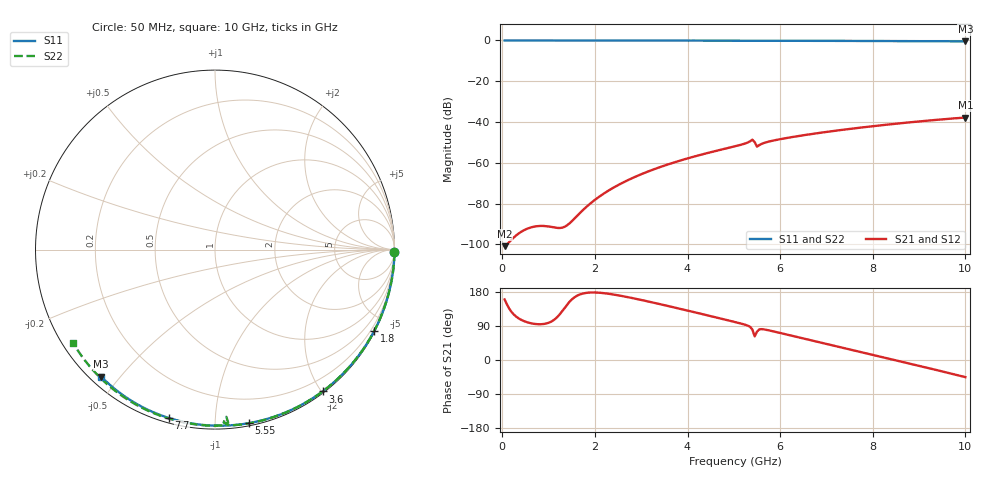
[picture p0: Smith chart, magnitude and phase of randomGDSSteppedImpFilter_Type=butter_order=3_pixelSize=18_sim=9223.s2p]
! freq	dB(S11)	phase(S11)	dB(S12)	phase(S12)
!  dB(S21)	phase(S21)	dB(S22)	phase(S22)
!S-par simulation data
#  GHz  S  DB  R 50
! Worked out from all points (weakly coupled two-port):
!   200 points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, 50 MHz to 10 GHz, reference 50 ohm
!   highest |S21| = -37.80 dB at 10 GHz (marker M1); lowest = -100.9 dB at 50 MHz (marker M2)
!   lowest |S11| = -0.4 dB at 10 GHz (marker M3), VSWR 39.03, Z = 1.54 - j22.3 ohm
!   |S11| at or under -10 dB: nowhere
!   |S22| runs from -0.6 to 0.0 dB; largest |S21 - S12| = 0
!   S11 on the Smith chart (normalised r, x): 50 MHz: open; 1.8 GHz: 0.04, -4.16; 3.6 GHz: 0.02, -2.01; 5.55 GHz: 0.02, -1.22; 7.7 GHz: 0.02, -0.76; 10 GHz: 0.03, -0.45
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0.05  -0.00 -0.8  -100.91 159.8  -100.91 159.8  -0.00 -0.9
0.85  -0.02 -12.9  -90.97 94.5  -90.97 94.5  -0.02 -14.4
1.75  -0.03 -26.3  -83.02 175.6  -83.02 175.6  -0.04 -29.4
1.8  -0.03 -27.0  -81.96 176.8  -81.96 176.8  -0.04 -30.2
1.9  -0.04 -28.5  -80.00 178.1  -80.00 178.1  -0.04 -31.9
2.25  -0.04 -33.6  -74.25 175.6  -74.25 175.6  -0.05 -37.6
2.65  -0.05 -39.4  -69.20 167.3  -69.20 167.3  -0.06 -44.0
3.4  -0.07 -50.0  -62.17 147.5  -62.17 147.5  -0.07 -55.9
3.6  -0.07 -52.8  -60.63 141.9  -60.63 141.9  -0.08 -59.0
4.2  -0.09 -61.1  -56.60 124.6  -56.60 124.6  -0.10 -68.1
5.05  -0.11 -72.4  -51.78 99.4  -51.78 99.4  -0.13 -80.9
5.3  -0.12 -75.7  -50.06 90.7  -50.06 90.7  -0.16 -84.9
5.4  -0.12 -77.0  -48.68 80.4  -48.68 80.4  -0.31 -87.1
5.45  -0.12 -77.6  -49.87 62.3  -49.87 62.3  -0.60 -86.1
5.5  -0.13 -78.3  -52.08 74.8  -52.08 74.8  -0.30 -85.7
5.55  -0.13 -78.9  -51.33 80.9  -51.33 80.9  -0.21 -86.8
5.65  -0.13 -80.2  -50.28 80.8  -50.28 80.8  -0.17 -88.6
5.85  -0.14 -82.7  -49.11 75.7  -49.11 75.7  -0.16 -91.7
6.7  -0.18 -93.3  -45.83 50.9  -45.83 50.9  -0.20 -103.6
7.7  -0.24 -105.4  -42.85 22.0  -42.85 22.0  -0.27 -116.9
8.35  -0.29 -113.0  -41.20 3.4  -41.20 3.4  -0.32 -125.4
10  -0.45 -131.9  -37.80 -45.2  -37.80 -45.2  -0.48 -146.7
